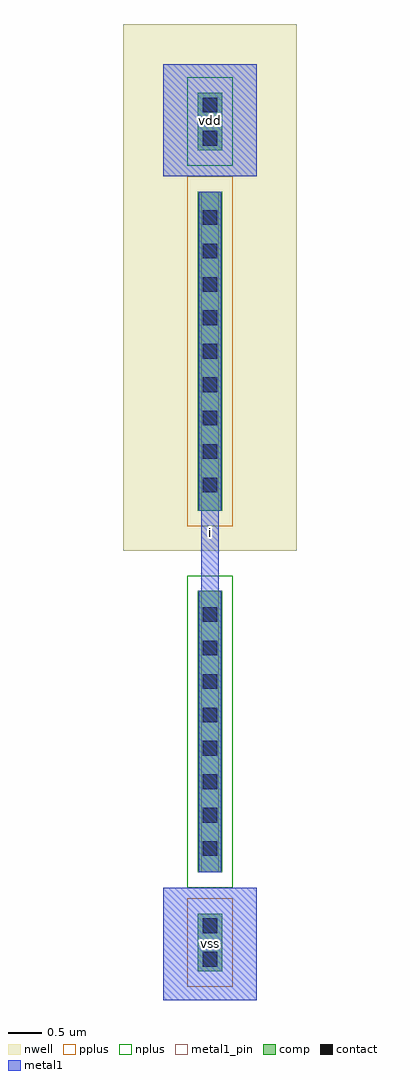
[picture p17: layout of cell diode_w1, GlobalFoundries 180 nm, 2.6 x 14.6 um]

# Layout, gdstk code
import gdstk
lib = gdstk.Library(unit=1e-6, precision=1e-09)
def R(c, l, rs):  # rectangles x0, y0, x1, y1
    for r in rs: c.add(gdstk.rectangle(r[:2], r[2:], *l))
def A(c, l, x, y, w, h, nx, ny, dx, dy):  # array of equal rectangles
    R(c, l, [(x+i*dx, y+j*dy, x+i*dx+w, y+j*dy+h) for i in range(nx) for j in range(ny)])
nwell = (21, 0)
comp = (22, 0)
pplus = (31, 0)
nplus = (32, 0)
contact = (33, 0)
metal1 = (34, 0)
metal1_pin = (34, 10)

diode_w1 = lib.new_cell('diode_w1')
R(diode_w1, nwell, [(-0.6,6.72,2,14.6)])
R(diode_w1, comp, [(0.52,0.43,0.88,1.29), (0.52,1.91,0.88,6.12), (0.52,7.32,0.88,12.09), (0.52,12.71,0.88,13.57)])
R(diode_w1, pplus, [(0.36,0.2,1.04,1.52), (0.36,7.09,1.04,12.32)])
R(diode_w1, nplus, [(0.36,1.68,1.04,6.35), (0.36,12.48,1.04,13.8)])
A(diode_w1, contact, 0.59, 2.155, 0.22, 0.22, 1, 8, 0, 0.5)
A(diode_w1, contact, 0.59, 7.595, 0.22, 0.22, 1, 9, 0, 0.5)
R(diode_w1, contact, [(0.59,0.5,0.81,0.72), (0.59,1,0.81,1.22), (0.59,12.78,0.81,13), (0.59,13.28,0.81,13.5)])
R(diode_w1, metal1, [(0,0,1.4,1.68), (0.53,1.91,0.87,6.12), (0.57,1.91,0.83,12.09), (0.53,7.32,0.87,12.09), (0,12.32,1.4,14)])
R(diode_w1, metal1_pin, [(0,0,1.4,1.68), (0.57,1.91,0.83,12.09), (0,12.32,1.4,14)])
diode_w1.add(gdstk.Label('vdd', (0.7,13.16), layer=34, texttype=10))
diode_w1.add(gdstk.Label('vss', (0.7,0.84), layer=34, texttype=10))
diode_w1.add(gdstk.Label('i', (0.7,7), layer=34, texttype=10))

lib.write_gds('diode_w1.gds')
